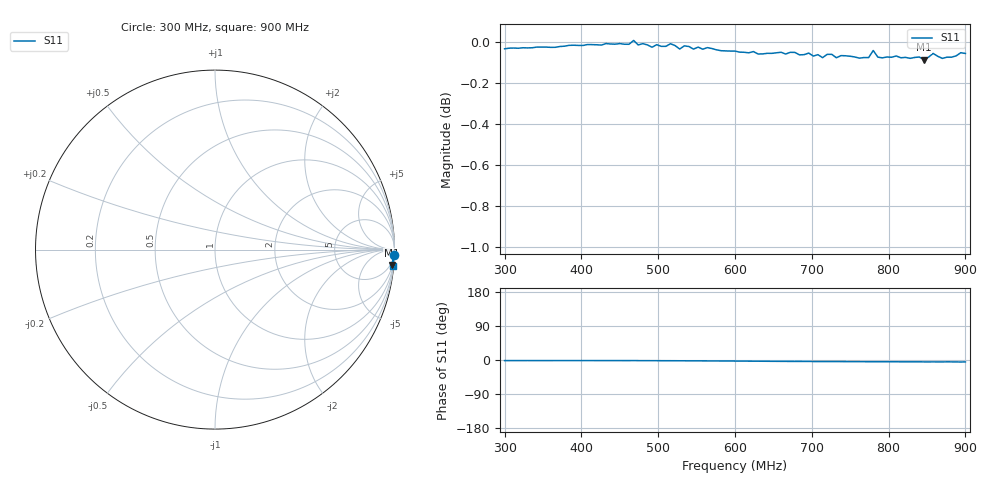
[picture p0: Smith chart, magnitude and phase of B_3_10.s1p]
# HZ S RI R 50
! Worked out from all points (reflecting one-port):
!   101 points, 300 MHz to 900 MHz, reference 50 ohm
!   lowest |S11| = -0.1 dB at 846 MHz (marker M1), VSWR 198.31, Z = 133 - j1.14e+03 ohm
!   phase of S11 starts at -2 deg and turns -4 deg over the sweep
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3e8  0.9956 -0.0278
3.78e8  0.9971 -0.026
4.5e8  0.9985 -0.0277
4.62e8  0.9981 -0.0284
4.68e8  1 -0.0249
4.74e8  0.9977 -0.029
4.92e8  0.9964 -0.0311
5.16e8  0.9983 -0.0336
5.28e8  0.9952 -0.0354
5.34e8  0.997 -0.0358
6e8  0.9935 -0.0479
6.3e8  0.9916 -0.0552
6.78e8  0.9918 -0.0657
6.84e8  0.9905 -0.0645
7.08e8  0.9903 -0.07
7.32e8  0.9884 -0.0719
7.5e8  0.9889 -0.076
7.74e8  0.988 -0.078
7.8e8  0.9919 -0.0787
7.86e8  0.9882 -0.0786
8.16e8  0.9875 -0.0826
8.28e8  0.9873 -0.0821
8.46e8  0.9862 -0.0857
8.58e8  0.9897 -0.0853
8.7e8  0.9868 -0.0872
8.76e8  0.9878 -0.0838
8.94e8  0.9897 -0.0903
9e8  0.9894 -0.0887
